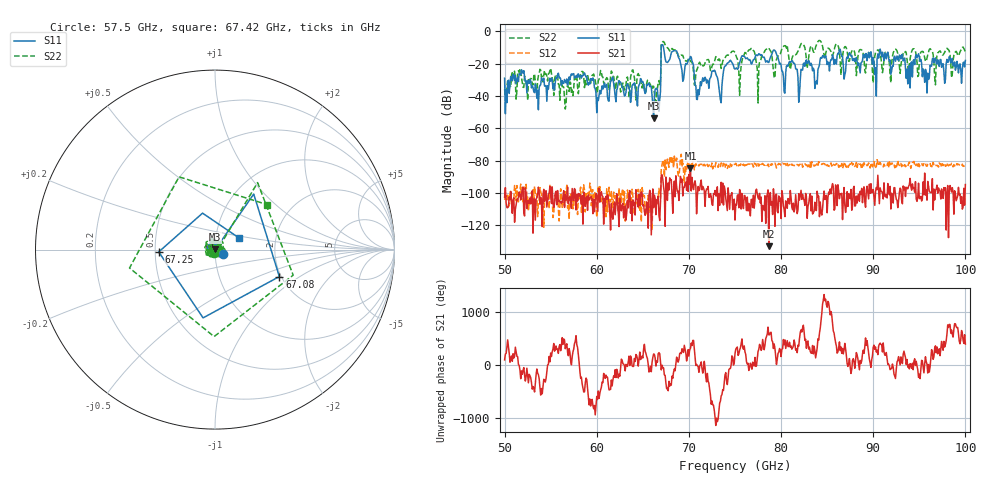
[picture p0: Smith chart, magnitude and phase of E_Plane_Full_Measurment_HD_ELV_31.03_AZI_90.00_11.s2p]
! 11/26/2026 3:19:36 PM
! C:\ANRITSUVNA\TEMP\TEMP.S2P
! CHANNEL.1
! TR.MEASUREMENT
! RAW.DATA
# HZ S RI R 50.0
! FREQ.HZ  S11RE  S11IM  S21RE  S21IM  S12RE  S12IM  S22RE  S22IM
!; PortSelection: Port_12
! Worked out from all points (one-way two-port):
!   601 points, 50 GHz to 100 GHz, reference 50 ohm
!   highest |S21| = -84.83 dB at 70.17 GHz (marker M1); lowest = -133.0 dB at 78.67 GHz (marker M2)
!   lowest |S11| = -53.8 dB at 66.17 GHz (marker M3), VSWR 1.00, Z = 50.1 + j0.149 ohm
!   |S11| at or under -10 dB: start of sweep to 67 GHz; 67.25 GHz to end of sweep
!   |S22| runs from -48.1 to -5.6 dB; largest |S21 - S12| = 0.00018
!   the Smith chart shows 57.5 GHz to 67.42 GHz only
!   S11 on the Smith chart (normalised r, x): 57.5 GHz: 1.09, -0.05; 67.08 GHz: 1.96, -0.69; 67.25 GHz: 0.52, -0.02; 67.42 GHz: 1.29, +0.17
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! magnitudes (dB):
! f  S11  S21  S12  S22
! 50 GHz  -29.0  -102.7  -104.3  -35.8
! 51.67 GHz  -26.3  -101.1  -99.2  -23.3
! 57.5 GHz  -26.2  -104.7  -109.3  -34.7
! 58.42 GHz  -27.2  -101.7  -105.7  -24.7
! 60.17 GHz  -42.8  -103.0  -95.7  -30.4
! 66.17 GHz  -53.8  -109.1  -104.4  -34.0
! 66.67 GHz  -41.5  -102.0  -103.6  -31.7
! 67.08 GHz  -8.2  -88.7  -82.9  -6.8
! 67.25 GHz  -10.1  -96.3  -80.3  -6.2
! 67.42 GHz  -16.6  -120.7  -79.6  -8.3
! 70.17 GHz  -15.5  -84.8  -83.2  -18.6
! 70.92 GHz  -42.2  -101.8  -82.8  -23.1
! 75 GHz  -23.4  -116.8  -82.4  -13.0
! 77.58 GHz  -13.8  -103.9  -83.4  -22.0
! 78.67 GHz  -19.2  -133.0  -83.6  -10.4
! 79.33 GHz  -11.8  -120.7  -81.5  -28.7
! 80.25 GHz  -27.8  -107.9  -81.9  -9.3
! 83.42 GHz  -24.4  -113.1  -81.7  -10.8
! 91.67 GHz  -16.6  -97.1  -84.3  -15.2
! 94.83 GHz  -15.1  -102.6  -83.4  -27.9
! 95.83 GHz  -38.2  -104.5  -83.5  -16.5
! 100 GHz  -18.0  -94.9  -82.5  -12.6
